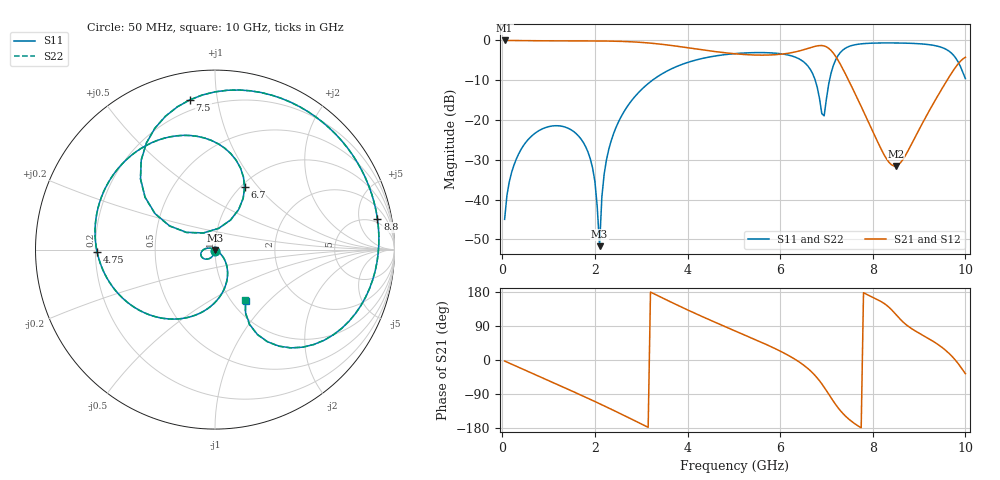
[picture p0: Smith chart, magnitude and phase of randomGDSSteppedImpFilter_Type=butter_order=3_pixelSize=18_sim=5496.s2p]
! freq	dB(S11)	phase(S11)	dB(S12)	phase(S12)
!  dB(S21)	phase(S21)	dB(S22)	phase(S22)
!S-par simulation data
#  GHz  S  DB  R 50
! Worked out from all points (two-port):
!   200 points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, 50 MHz to 10 GHz, reference 50 ohm
!   highest |S21| = 0.00 dB at 50 MHz (marker M1); lowest = -31.5 dB at 8.5 GHz (marker M2)
!   |S21| within 3 dB of the highest: start of sweep to 4.743 GHz; 6.276 GHz to 7.135 GHz (859 MHz wide, 12.8 % of centre)
!   lowest |S11| = -51.7 dB at 2.1 GHz (marker M3), VSWR 1.01, Z = 50 - j0.26 ohm
!   |S11| at or under -10 dB: start of sweep to 3.241 GHz; 6.757 GHz to 7.066 GHz (309.4 MHz wide, 4.48 % of centre)
!   |S22| runs from -51.8 to -0.6 dB; largest |S21 - S12| = 0
!   S11 on the Smith chart (normalised r, x): 50 MHz: 1.00, -0.01; 4.75 GHz: 0.21, -0.01; 6.7 GHz: 1.04, +0.85; 7.5 GHz: 0.14, +0.84; 8.8 GHz: 3.94, +8.93; 10 GHz: 1.16, -0.74
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0.05  -44.95 -91.6  -0.00 -2.7  -0.00 -2.7  -44.95 -91.6
0.2  -33.20 -99.6  -0.02 -11.0  -0.02 -11.0  -33.20 -99.6
0.6  -24.39 -123.2  -0.06 -32.7  -0.06 -32.7  -24.39 -123.2
1.2  -21.44 -155.8  -0.11 -65.2  -0.11 -65.2  -21.44 -155.9
1.75  -25.64 174.0  -0.13 -95.5  -0.13 -95.5  -25.64 173.8
2  -35.48 161.0  -0.13 -109.6  -0.13 -109.6  -35.48 160.3
2.1  -51.69 -92.7  -0.14 -115.3  -0.14 -115.3  -51.80 -91.9
2.2  -33.55 -33.5  -0.15 -121.1  -0.15 -121.1  -33.55 -32.8
2.4  -23.51 -44.2  -0.18 -132.7  -0.18 -132.7  -23.51 -43.9
3.4  -8.74 -103.6  -0.91 167.2  -0.91 167.2  -8.74 -103.6
4.75  -3.65 -178.8  -3.01 91.3  -3.01 91.3  -3.65 -178.8
5.05  -3.29 165.6  -3.38 75.6  -3.38 75.6  -3.29 165.7
6.1  -3.50 108.4  -3.35 17.2  -3.35 17.2  -3.50 108.5
6.7  -8.31 64.6  -1.65 -33.9  -1.65 -33.9  -8.31 64.6
6.95  -18.94 124.5  -1.39 -71.8  -1.39 -71.8  -18.99 124.7
7.15  -6.25 143.1  -3.21 -109.0  -3.21 -109.0  -6.25 143.2
7.5  -1.45 99.5  -10.54 -157.9  -10.54 -157.9  -1.45 99.6
8.35  -0.63 37.5  -30.62 139.2  -30.62 139.2  -0.63 37.5
8.5  -0.64 28.5  -31.54 120.1  -31.54 120.1  -0.64 28.5
8.8  -0.71 10.7  -26.88 85.9  -26.88 85.9  -0.71 10.7
9.6  -2.34 -43.8  -10.08 22.7  -10.08 22.7  -2.35 -43.9
10  -9.58 -59.0  -4.22 -36.1  -4.22 -36.1  -9.63 -59.1
